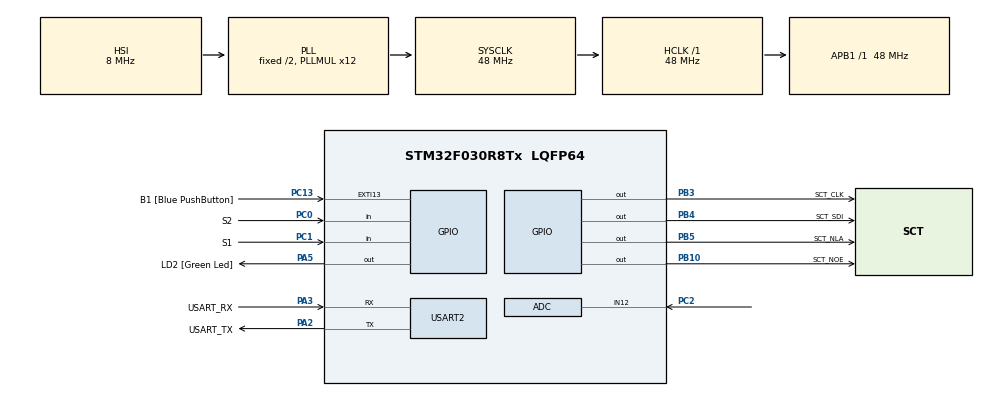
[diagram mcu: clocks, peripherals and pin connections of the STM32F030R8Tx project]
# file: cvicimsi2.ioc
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Mcu.Family=STM32F0
Mcu.Name=STM32F030R8Tx
Mcu.Package=LQFP64
PA13.GPIO_Label=TMS
PA13.Mode=Serial_Wire
PA13.Signal=SYS_SWDIO
PA14.GPIO_Label=TCK
PA14.Mode=Serial_Wire
PA14.Signal=SYS_SWCLK
PA2.GPIO_Label=USART_TX
PA2.GPIO_Mode=GPIO_MODE_AF_PP
PA2.GPIO_PuPd=GPIO_NOPULL
PA2.GPIO_Speed=GPIO_SPEED_FREQ_LOW
PA2.Mode=Asynchronous
PA2.Signal=USART2_TX
PA3.GPIO_Label=USART_RX
PA3.GPIO_Mode=GPIO_MODE_AF_PP
PA3.GPIO_PuPd=GPIO_NOPULL
PA3.GPIO_Speed=GPIO_SPEED_FREQ_LOW
PA3.Mode=Asynchronous
PA3.Signal=USART2_RX
PA5.GPIO_Label=LD2 [Green Led]
PA5.GPIO_Mode=GPIO_MODE_OUTPUT_PP
PA5.GPIO_PuPd=GPIO_NOPULL
PA5.GPIO_Speed=GPIO_SPEED_FREQ_LOW
PA5.Signal=GPIO_Output
PB10.GPIO_Label=SCT_NOE
PB10.Signal=GPIO_Output
PB3.GPIO_Label=SCT_CLK
PB3.Signal=GPIO_Output
PB4.GPIO_Label=SCT_SDI
PB4.Signal=GPIO_Output
PB5.GPIO_Label=SCT_NLA
PB5.Signal=GPIO_Output
PC0.GPIO_Label=S2
PC0.GPIO_PuPd=GPIO_PULLUP
PC0.Signal=GPIO_Input
PC1.GPIO_Label=S1
PC1.GPIO_PuPd=GPIO_PULLUP
PC1.Signal=GPIO_Input
PC13.GPIO_Label=B1 [Blue PushButton]
PC13.GPIO_ModeDefaultEXTI=GPIO_MODE_IT_FALLING
PC13.Signal=GPXTI13
PC14-OSC32_IN.Mode=LSE-External-Oscillator
PC14-OSC32_IN.Signal=RCC_OSC32_IN
PC15-OSC32_OUT.Mode=LSE-External-Oscillator
PC15-OSC32_OUT.Signal=RCC_OSC32_OUT
PC2.Mode=IN12
PC2.Signal=ADC_IN12
PF0-OSC_IN.Mode=HSE-External-Clock-Source
PF0-OSC_IN.Signal=RCC_OSC_IN
PF1-OSC_OUT.Signal=RCC_OSC_OUT
ProjectManager.HeapSize=0x200
ProjectManager.StackSize=0x400
ProjectManager.TargetToolchain=STM32CubeIDE
RCC.AHBFreq_Value=48000000
RCC.APB1Freq_Value=48000000
RCC.APB1TimFreq_Value=48000000
RCC.HCLKFreq_Value=48000000
RCC.PLLMUL=RCC_PLL_MUL12
RCC.SYSCLKFreq_VALUE=48000000
RCC.SYSCLKSource=RCC_SYSCLKSOURCE_PLLCLK
USART2.VirtualMode-Asynchronous=VM_ASYNC
board=NUCLEO-F030R8

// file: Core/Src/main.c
/* USER CODE BEGIN Header */
/**
 ******************************************************************************
 * @file           : main.c
 * @brief          : Main program body
 ******************************************************************************
 * @attention
 *
 * Copyright (c) 2024 STMicroelectronics.
 * All rights reserved.
 *
 * This software is licensed under terms that can be found in the LICENSE file
 * in the root directory of this software component.
 * If no LICENSE file comes with this software, it is provided AS-IS.
 *
 ******************************************************************************
 */
/* USER CODE END Header */
#include "main.h"

/* USER CODE BEGIN Includes */
#include "sct.h"
#include <stdlib.h>
/* USER CODE END Includes */

ADC_HandleTypeDef hadc;

UART_HandleTypeDef huart2;

void SystemClock_Config(void);
static void MX_GPIO_Init(void);
static void MX_USART2_UART_Init(void);
static void MX_ADC_Init(void);

int main(void)
{

	/* MCU Configuration--------------------------------------------------------*/

	/* Reset of all peripherals, Initializes the Flash interface and the Systick. */
	HAL_Init();

	/* Configure the system clock */
	SystemClock_Config();

	/* Initialize all configured peripherals */
	MX_GPIO_Init();
	MX_USART2_UART_Init();
	MX_ADC_Init();
	/* USER CODE BEGIN 2 */
	sct_init();
	sct_value(666, 0, 0);
	HAL_Delay(200);
	HAL_ADCEx_Calibration_Start(&hadc);

	/* USER CODE END 2 */

	/* Infinite loop */
	/* USER CODE BEGIN WHILE */

	uint16_t adc_value;
	HAL_ADC_Start(&hadc);
	adc_value = HAL_ADC_GetValue(&hadc);

	HAL_Delay(100);
	sct_value(adc_value, 0, 0);

	srand(adc_value);

	uint8_t random_number;
	random_number = (rand() %6)+1;

	sct_value(random_number, 0, 0);
	HAL_Delay(50);

	while (1)
	{

		/* USER CODE END WHILE */

		/* USER CODE BEGIN 3 */

		//sct_value(111, 5,0);
		//		for (uint8_t i = 0; i < 9; ++i) {
		//			sct_baragraph(i);
		//			HAL_Delay(100);
		//		}
		//
		//		for (uint8_t i = 9; i > 0; --i) {
		//			sct_baragraph(i);
		//			HAL_Delay(100);
		//		}

		//		uint8_t led_binary_index = 0b11;
		//
		//		for (uint8_t i = 0; i < 6; ++i) {
		//
		//			sct_universal_baragraph(led_binary_index);
		//			led_binary_index <<= 1;
		//			HAL_Delay(100);
		//		}
		//
		//		for (uint8_t i = 0; i < 7; ++i) {
		//
		//			sct_universal_baragraph(led_binary_index);
		//			led_binary_index >>= 1;
		//			HAL_Delay(100);
		//		}

		uint8_t button_pressed = 0;
		uint16_t delay_value = 20;
		while(button_pressed == 0){
			random_number = (rand() %6)+1;

			HAL_Delay(20);
			sct_value(random_number, 0, 0);

			if (HAL_GPIO_ReadPin(S1_GPIO_Port, S1_Pin)==0) {
				button_pressed = 1;
			}
		}
		for (uint16_t i = 0; i < 20; ++i) {

			random_number = (rand() %6)+1;
			HAL_Delay(delay_value);
			delay_value +=20;
			sct_value(random_number, 0, 0);
		}

		sct_value(random_number, 8, 0);
		HAL_Delay(200);
		sct_value(random_number, 0, 0);
		HAL_Delay(200);
		sct_value(random_number, 8, 0);
		HAL_Delay(200);
		sct_value(random_number, 0, 0);
		HAL_Delay(5000);

	}
	/* USER CODE END 3 */
}

void SystemClock_Config(void)
{
	RCC_OscInitTypeDef RCC_OscInitStruct = {0};
	RCC_ClkInitTypeDef RCC_ClkInitStruct = {0};

	/** Initializes the RCC Oscillators according to the specified parameters
	 * in the RCC_OscInitTypeDef structure.
	 */
	RCC_OscInitStruct.OscillatorType = RCC_OSCILLATORTYPE_HSI|RCC_OSCILLATORTYPE_HSI14;
	RCC_OscInitStruct.HSIState = RCC_HSI_ON;
	RCC_OscInitStruct.HSI14State = RCC_HSI14_ON;
	RCC_OscInitStruct.HSICalibrationValue = RCC_HSICALIBRATION_DEFAULT;
	RCC_OscInitStruct.HSI14CalibrationValue = 16;
	RCC_OscInitStruct.PLL.PLLState = RCC_PLL_ON;
	RCC_OscInitStruct.PLL.PLLSource = RCC_PLLSOURCE_HSI;
	RCC_OscInitStruct.PLL.PLLMUL = RCC_PLL_MUL12;
	RCC_OscInitStruct.PLL.PREDIV = RCC_PREDIV_DIV1;
	if (HAL_RCC_OscConfig(&RCC_OscInitStruct) != HAL_OK)
	{
		Error_Handler();
	}

	/** Initializes the CPU, AHB and APB buses clocks
	 */
	RCC_ClkInitStruct.ClockType = RCC_CLOCKTYPE_HCLK|RCC_CLOCKTYPE_SYSCLK
			|RCC_CLOCKTYPE_PCLK1;
	RCC_ClkInitStruct.SYSCLKSource = RCC_SYSCLKSOURCE_PLLCLK;
	RCC_ClkInitStruct.AHBCLKDivider = RCC_SYSCLK_DIV1;
	RCC_ClkInitStruct.APB1CLKDivider = RCC_HCLK_DIV1;

	if (HAL_RCC_ClockConfig(&RCC_ClkInitStruct, FLASH_LATENCY_1) != HAL_OK)
	{
		Error_Handler();
	}
}

static void MX_ADC_Init(void)
{

	ADC_ChannelConfTypeDef sConfig = {0};

	/** Configure the global features of the ADC (Clock, Resolution, Data Alignment and number of conversion)
	 */
	hadc.Instance = ADC1;
	hadc.Init.ClockPrescaler = ADC_CLOCK_ASYNC_DIV1;
	hadc.Init.Resolution = ADC_RESOLUTION_12B;
	hadc.Init.DataAlign = ADC_DATAALIGN_RIGHT;
	hadc.Init.ScanConvMode = ADC_SCAN_DIRECTION_FORWARD;
	hadc.Init.EOCSelection = ADC_EOC_SINGLE_CONV;
	hadc.Init.LowPowerAutoWait = DISABLE;
	hadc.Init.LowPowerAutoPowerOff = DISABLE;
	hadc.Init.ContinuousConvMode = DISABLE;
	hadc.Init.DiscontinuousConvMode = DISABLE;
	hadc.Init.ExternalTrigConv = ADC_SOFTWARE_START;
	hadc.Init.ExternalTrigConvEdge = ADC_EXTERNALTRIGCONVEDGE_NONE;
	hadc.Init.DMAContinuousRequests = DISABLE;
	hadc.Init.Overrun = ADC_OVR_DATA_PRESERVED;
	if (HAL_ADC_Init(&hadc) != HAL_OK)
	{
		Error_Handler();
	}

	/** Configure for the selected ADC regular channel to be converted.
	 */
	sConfig.Channel = ADC_CHANNEL_12;
	sConfig.Rank = ADC_RANK_CHANNEL_NUMBER;
	sConfig.SamplingTime = ADC_SAMPLETIME_1CYCLE_5;
	if (HAL_ADC_ConfigChannel(&hadc, &sConfig) != HAL_OK)
	{
		Error_Handler();
	}

}

static void MX_USART2_UART_Init(void)
{

	huart2.Instance = USART2;
	huart2.Init.BaudRate = 38400;
	huart2.Init.WordLength = UART_WORDLENGTH_8B;
	huart2.Init.StopBits = UART_STOPBITS_1;
	huart2.Init.Parity = UART_PARITY_NONE;
	huart2.Init.Mode = UART_MODE_TX_RX;
	huart2.Init.HwFlowCtl = UART_HWCONTROL_NONE;
	huart2.Init.OverSampling = UART_OVERSAMPLING_16;
	huart2.Init.OneBitSampling = UART_ONE_BIT_SAMPLE_DISABLE;
	huart2.AdvancedInit.AdvFeatureInit = UART_ADVFEATURE_NO_INIT;
	if (HAL_UART_Init(&huart2) != HAL_OK)
	{
		Error_Handler();
	}

}

static void MX_GPIO_Init(void)
{
	GPIO_InitTypeDef GPIO_InitStruct = {0};

	/* GPIO Ports Clock Enable */
	__HAL_RCC_GPIOC_CLK_ENABLE();
	__HAL_RCC_GPIOF_CLK_ENABLE();
	__HAL_RCC_GPIOA_CLK_ENABLE();
	__HAL_RCC_GPIOB_CLK_ENABLE();

	/*Configure GPIO pin Output Level */
	HAL_GPIO_WritePin(LD2_GPIO_Port, LD2_Pin, GPIO_PIN_RESET);

	/*Configure GPIO pin Output Level */
	HAL_GPIO_WritePin(GPIOB, SCT_NOE_Pin|SCT_CLK_Pin|SCT_SDI_Pin|SCT_NLA_Pin, GPIO_PIN_RESET);

	/*Configure GPIO pin : B1_Pin */
	GPIO_InitStruct.Pin = B1_Pin;
	GPIO_InitStruct.Mode = GPIO_MODE_IT_FALLING;
	GPIO_InitStruct.Pull = GPIO_NOPULL;
	HAL_GPIO_Init(B1_GPIO_Port, &GPIO_InitStruct);

	/*Configure GPIO pins : S2_Pin S1_Pin */
	GPIO_InitStruct.Pin = S2_Pin|S1_Pin;
	GPIO_InitStruct.Mode = GPIO_MODE_INPUT;
	GPIO_InitStruct.Pull = GPIO_PULLUP;
	HAL_GPIO_Init(GPIOC, &GPIO_InitStruct);

	/*Configure GPIO pin : LD2_Pin */
	GPIO_InitStruct.Pin = LD2_Pin;
	GPIO_InitStruct.Mode = GPIO_MODE_OUTPUT_PP;
	GPIO_InitStruct.Pull = GPIO_NOPULL;
	GPIO_InitStruct.Speed = GPIO_SPEED_FREQ_LOW;
	HAL_GPIO_Init(LD2_GPIO_Port, &GPIO_InitStruct);

	/*Configure GPIO pins : SCT_NOE_Pin SCT_CLK_Pin SCT_SDI_Pin SCT_NLA_Pin */
	GPIO_InitStruct.Pin = SCT_NOE_Pin|SCT_CLK_Pin|SCT_SDI_Pin|SCT_NLA_Pin;
	GPIO_InitStruct.Mode = GPIO_MODE_OUTPUT_PP;
	GPIO_InitStruct.Pull = GPIO_NOPULL;
	GPIO_InitStruct.Speed = GPIO_SPEED_FREQ_LOW;
	HAL_GPIO_Init(GPIOB, &GPIO_InitStruct);

}

void Error_Handler(void)
{
	__disable_irq();
	while (1)
	{
	}
}
